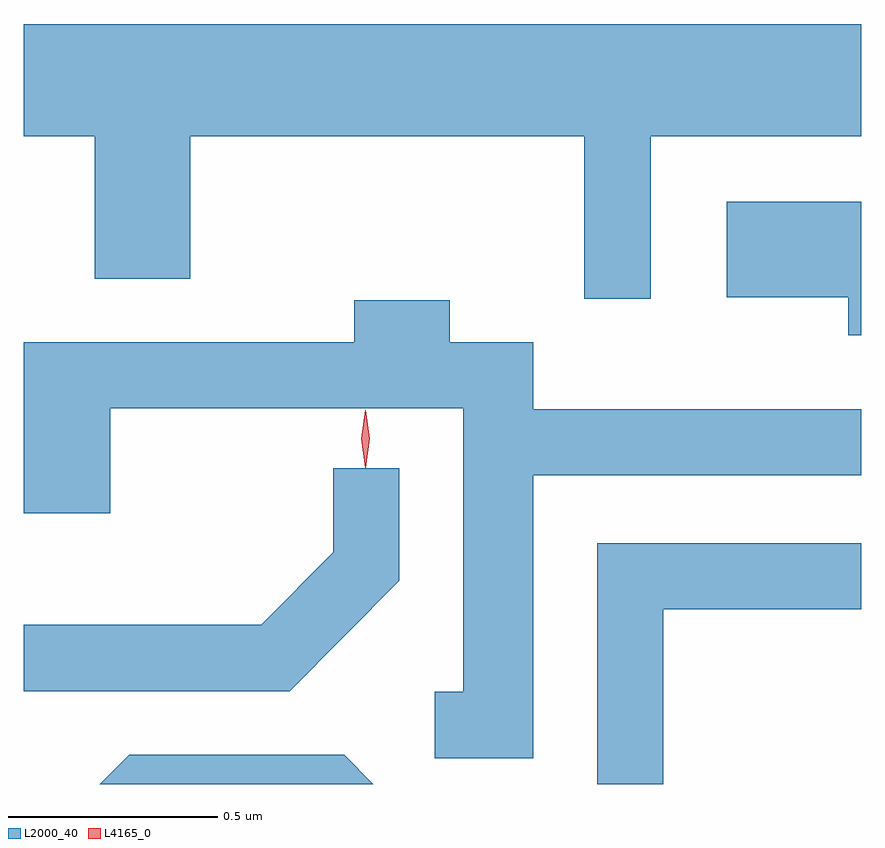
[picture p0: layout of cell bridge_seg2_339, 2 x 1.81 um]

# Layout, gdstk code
import gdstk
lib = gdstk.Library(unit=1e-6, precision=1e-09)
def P(c, l, *ps):  # polygons
    for p in ps: c.add(gdstk.Polygon(p, *l))
L2000_40 = (2000, 40)
L4165_0 = (4165, 0)

bridge_seg2_339 = lib.new_cell('bridge_seg2_339')
P(bridge_seg2_339, L2000_40, [(333.489,997.256),(333.992,997.256),(333.992,997.524),(331.992,997.524),(331.992,997.256),(332.161,997.256),(332.161,996.916),(332.389,996.916),(332.389,997.256),(333.331,997.256),(333.331,996.868),(333.489,996.868)],
  [(333.992,997.099),(333.671,997.099),(333.671,996.871),(333.961,996.871),(333.961,996.781),(333.992,996.781)],
  [(333.209,996.446),(333.992,996.446),(333.992,996.604),(333.209,996.604),(333.209,996.764),(333.009,996.764),(333.009,996.864),(332.781,996.864),(332.781,996.764),(331.992,996.764),(331.992,996.356),(332.199,996.356),(332.199,996.606),(333.041,996.606),(333.041,995.929),(332.973,995.929),(332.973,995.771),(333.209,995.771)],
  [(332.889,996.194),(332.889,996.463),(332.731,996.463),(332.731,996.262),(332.559,996.089),(331.992,996.089),(331.992,995.931),(332.627,995.931)],
  [(333.519,996.126),(333.992,996.126),(333.992,996.284),(333.361,996.284),(333.361,995.709),(333.519,995.709)],
  [(332.757,995.779),(332.244,995.779),(332.174,995.709),(332.827,995.709)])
P(bridge_seg2_339, L4165_0, [(332.808,996.463),(332.808,996.464),(332.798,996.533),(332.808,996.602),(332.808,996.603),(332.809,996.602),(332.818,996.533),(332.809,996.464)])

lib.write_gds('bridge_seg2_339.gds')
